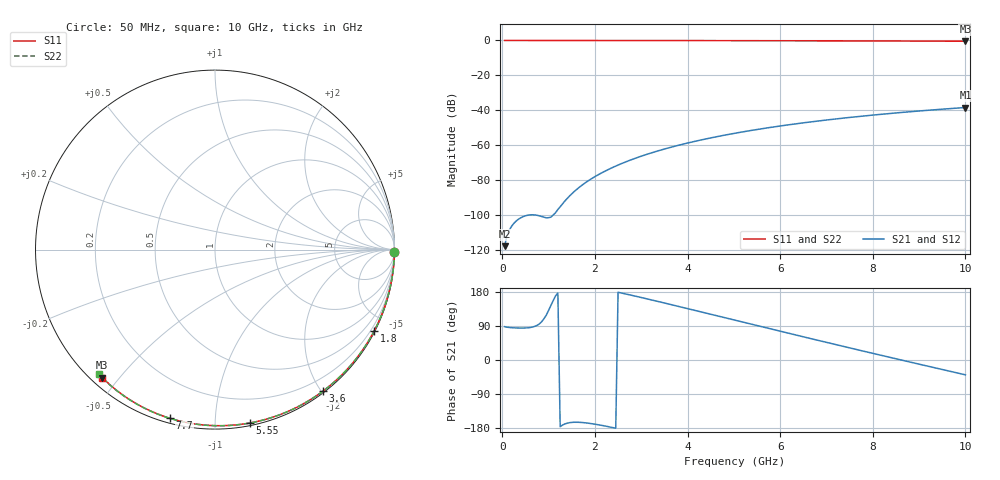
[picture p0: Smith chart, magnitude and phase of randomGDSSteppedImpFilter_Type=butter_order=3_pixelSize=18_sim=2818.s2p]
! freq	dB(S11)	phase(S11)	dB(S12)	phase(S12)
!  dB(S21)	phase(S21)	dB(S22)	phase(S22)
!S-par simulation data
#  GHz  S  DB  R 50
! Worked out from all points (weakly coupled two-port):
!   200 points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, 50 MHz to 10 GHz, reference 50 ohm
!   highest |S21| = -38.38 dB at 10 GHz (marker M1); lowest = -117.7 dB at 50 MHz (marker M2)
!   lowest |S11| = -0.4 dB at 10 GHz (marker M3), VSWR 39.07, Z = 1.54 - j22.6 ohm
!   |S11| at or under -10 dB: nowhere
!   |S22| runs from -0.4 to 0.0 dB; largest |S21 - S12| = 0
!   S11 on the Smith chart (normalised r, x): 50 MHz: open; 1.8 GHz: 0.04, -4.18; 3.6 GHz: 0.02, -2.02; 5.55 GHz: 0.02, -1.22; 7.7 GHz: 0.02, -0.77; 10 GHz: 0.03, -0.45
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0.05  -0.00 -0.8  -117.74 88.0  -117.74 88.0  -0.00 -0.8
0.9  -0.02 -13.6  -101.23 109.0  -101.23 109.0  -0.02 -13.8
1.75  -0.03 -26.2  -82.27 -165.2  -82.27 -165.2  -0.03 -26.5
1.8  -0.03 -26.9  -81.32 -165.9  -81.32 -165.9  -0.03 -27.3
1.85  -0.04 -27.7  -80.43 -166.6  -80.43 -166.6  -0.04 -28.0
1.9  -0.04 -28.4  -79.57 -167.5  -79.57 -167.5  -0.04 -28.7
2.05  -0.04 -30.6  -77.18 -170.4  -77.18 -170.4  -0.04 -31.0
2.25  -0.04 -33.5  -74.36 -174.9  -74.36 -174.9  -0.04 -33.9
2.45  -0.05 -36.4  -71.88 -180.0  -71.88 -180.0  -0.05 -36.8
2.65  -0.05 -39.3  -69.65 174.7  -69.65 174.7  -0.05 -39.7
3  -0.06 -44.2  -66.24 165.0  -66.24 165.0  -0.06 -44.8
3.4  -0.07 -49.9  -62.90 153.4  -62.90 153.4  -0.07 -50.5
3.6  -0.07 -52.7  -61.41 147.5  -61.41 147.5  -0.07 -53.3
4.3  -0.09 -62.2  -56.90 126.7  -56.90 126.7  -0.09 -63.0
5.05  -0.11 -72.2  -52.98 104.3  -52.98 104.3  -0.11 -73.0
5.55  -0.13 -78.7  -50.75 89.4  -50.75 89.4  -0.13 -79.6
6.1  -0.15 -85.6  -48.58 73.0  -48.58 73.0  -0.15 -86.6
6.7  -0.18 -93.0  -46.49 55.3  -46.49 55.3  -0.18 -94.1
7.7  -0.24 -105.0  -43.51 26.2  -43.51 26.2  -0.24 -106.3
8.35  -0.29 -112.6  -41.85 7.5  -41.85 7.5  -0.29 -114.0
9.15  -0.36 -121.8  -40.05 -15.2  -40.05 -15.2  -0.36 -123.3
10  -0.44 -131.4  -38.38 -39.1  -38.38 -39.1  -0.45 -133.1
